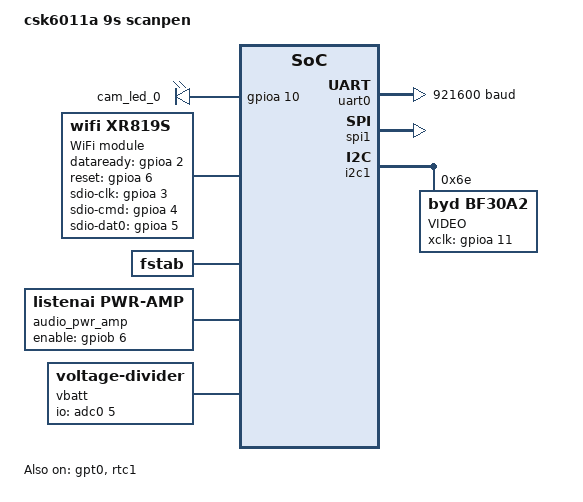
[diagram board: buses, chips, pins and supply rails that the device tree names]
/* SPDX-License-Identifier: Apache-2.0 */

/dts-v1/;
#include <csk/csk6.dtsi>
#include "csk6011a_9s_scanpen_pinctrl.dtsi"

/ {
        model = "csk6011a 9s scanpen";
        compatible = "csk,csk6011a_9s_scanpen";
        aliases {
                i2c-0 = &i2c0;
                i2c-1 = &i2c1;
                c-led = &camleds1;
                avf-audio-pwr-amp = &pwr_amp;
        };

        chosen {
                zephyr,console = &uart0;
                zephyr,shell-uart = &uart0;
                zephyr,sram = &sram0;
                zephyr,itcm = &itcm0;
                zephyr,flash = &flash0;
                zephyr,flash_controller = &flash;
                /* other chosen settings  for your hardware */

		zephyr,ipc_shm = &psram_share;
		zephyr,ipc = &mailbox0;
		zephyr,uart-mcumgr = &uart0;
        };

	gpio,user {
		compatible = "listenai,csk-gpio-user";
		fy_key: fykey {
			gpios = <&gpiob 4 1>;
			label = "fykey";
		};
                key_key: keykey {
			gpios = <&gpiob 5 1>;
			label = "keykey";
		};
	};

        leds {
                compatible = "gpio-leds";
                camleds1: cam_led_0 {
                        gpios = <&gpioa 10 0>;
                        label = "cam_led_0";
                };
        };

        wifi_module: xr819s {
                compatible = "wifi,xr819s";
                label = "WiFi module";
                dataready-gpios = <&gpioa 2 0>;
                reset-gpios = <&gpioa 6 0>;
                sdio-clk-gpios = <&gpioa 3 0>;
                sdio-cmd-gpios = <&gpioa 4 0>;
                sdio-dat0-gpios = <&gpioa 5 0>;
                status = "okay";
        };

        fstab {
                compatible = "zephyr,fstab";
                lfs1: lfs1 {
                        compatible = "zephyr,fstab,littlefs";
                        mount-point = "/lfs1";
                        partition = <&filesystem_part>;
                        read-size = <16>;
                        prog-size = <16>;
                        cache-size = <64>;
                        lookahead-size = <32>;
                        block-cycles = <512>;
                };
        };

        pwr_amp: audio_pwr_amp {
                compatible = "listenai,pwr-amp";
                enable-gpios = <&gpiob 6 0>;
                label = "audio_pwr_amp";
                status = "okay";
        };

        vbatt {
                compatible = "voltage-divider";
                io-channels = <&adc0 5>;
                output-ohms = <0>;
        };


        /*
         * Your board-specific hardware: buttons, LEDs, sensors, etc.
         */
};


&gpioa {
        status = "okay";
};

&gpiob {
        status = "okay";
};

&uart0 {
        pinctrl-0 = <&pinctrl_uart0_rx_default &pinctrl_uart0_tx_default>; 
        pinctrl-names = "default";
        current-speed = <921600>;
        status = "okay";
};

&uart1 {
        status = "disabled";
};

&uart2 {
        status = "disabled";
};

&spi0 {
        pinctrl-0 = <&pinctrl_spi0_sclk_default &pinctrl_spi0_mosi_default &pinctrl_spi0_miso_default &pinctrl_spi0_cs_default>; 
        pinctrl-names = "default";
        status = "disabled";
};

&spi1 {
        status = "okay";
        spi-max-frequency = <100000000>;
        pinctrl-0 = <&pinctrl_spi1_sclk_default &pinctrl_spi1_mosi_default &pinctrl_spi1_cs_default>;
        pinctrl-names = "default";
};

&i2c0 {
        status = "disabled";
};


&i2c1 {
        status = "okay";
        pinctrl-0 = <&pinctrl_i2c1_scl_default &pinctrl_i2c1_sda_default>;
        pinctrl-names = "default";

        bf30a2: bf30a2@6e {
            compatible = "byd,bf30a2";
            status = "okay";
            label = "VIDEO";
            reg = <0x6e>;
            xclk-gpios = <&gpioa 11 0>;
            product-id = <0x3b02>;
            spi = <&spi1>;
        };
};

&gpt0 {
	status = "okay";
};



&mailbox0 {
	status = "okay";
};

&dma0 {
	dma-channels = <6>;
	status = "okay";
};

&rtc1 {
        status = "okay";
};

&flash0 {
        /*
         * For more information, see:
         * http: //docs.zephyrproject.org/latest/guides/dts/index.html#flash-partitions
         */
        reg = <0x18000000 DT_SIZE_M(32)>;
        write-block-size = <4>;
        partitions {
                compatible = "fixed-partitions";
                #address-cells = < 0x1 >;
                #size-cells = < 0x1 >;
                boot_partition: partition@0 {
                        label = "mcuboot";
                        reg = < 0x0 0x40000 >;
                        read-only;
                };
                slot0_partition: partition@40000 {
                        label = "image-0";
                        reg = < 0x40000 0x100000 >;
                };
                slot1_partition: partition@140000 {
                        label = "image-1";
                        reg = < 0x140000 0x100000 >;
                };
                scratch_partition: partition@240000 {
                        label = "image-scratch";
                        reg = < 0x240000 0x20000 >;
                };
                filesystem_part: partition@260000 {
                        label = "filesystem";
                        reg = < 0x260000 0x2a0000 >;
                        phandle = < 0x12 >;
                };
                hifi4_partition: partition@500000 {
                        label = "cp-image";
                        reg = < 0x500000 0x300000 >;
                };
                cutline_partition: partition@800000 {
                        label = "cutline";
                        reg = < 0x800000 0x80000 >;
                };
                ocr_partition: partition@880000 {
                        label = "ocr";
                        reg = < 0x880000 0x280000 >;
                };
                tts_partition: partition@b00000 {
                        label = "tts";
                        reg = < 0xb00000 0x480000 >;
                };
                trans_partition: partition@f80000 {
                        label = "trans";
                        reg = < 0xf80000 0x1000000 >;
                };
        };
};

&psram0 {
        reg = <0x30000000 DT_SIZE_M(8)>;
        #address-cells = <1>;
        #size-cells = <1>;

        /*psram for cp core slot: 6MB */
        psram_cp:psram_cp@30000000{
                compatible = "listenai,csk6-psram-partition";
                reg = <0x30000000 0x600000>;
                status = "okay";
        };

        /*psram for ap core slot: 1.6875MB */
        psram_ap: psram_ap@30600000 {
                compatible = "listenai,csk6-psram-partition";
                reg = <0x30600000 0x1b0000>;
                status = "okay";
        };

        /*psram for ap share with cp slot: 512KB */
        psram_share: psram_share@307b0000 {
                compatible = "listenai,csk6-psram-partition";
                reg = <0x307b0000 0x50000>;
                status = "okay";
        };
};

&wdt {
        status = "disabled";
};
